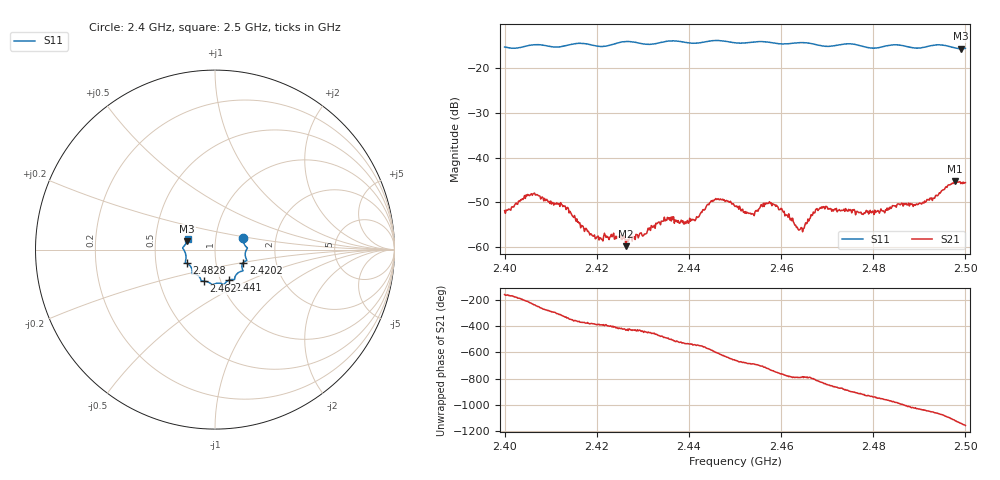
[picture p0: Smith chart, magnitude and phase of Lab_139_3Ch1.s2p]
# Hz S RI R 50
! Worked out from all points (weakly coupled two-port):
!   601 points, 2.4 GHz to 2.5 GHz, reference 50 ohm
!   highest |S21| = -45.34 dB at 2.4977 GHz (marker M1); lowest = -59.7 dB at 2.4263 GHz (marker M2)
!   lowest |S11| = -15.8 dB at 2.499 GHz (marker M3), VSWR 1.39, Z = 36.4 + j3.54 ohm
!   |S11| at or under -10 dB: start of sweep to end of sweep
!   S12 and S22 are empty: the file has one direction only
!   S11 on the Smith chart (normalised r, x): 2.4 GHz: 1.36, +0.17; 2.4202 GHz: 1.36, -0.20; 2.441 GHz: 1.10, -0.39; 2.462 GHz: 0.83, -0.30; 2.4828 GHz: 0.72, -0.11; 2.5 GHz: 0.73, +0.09
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2.4e9  0.1583 0.0619  -0.00234 -0.00104  0 0  0 0
2.406667e9  0.1802 0.00982  -0.00202 0.00325  0 0  0 0
2.412667e9  0.169 -0.0364  0.00219 0.0018  0 0  0 0
2.416667e9  0.1769 -0.0605  0.00173 -0.000313  0 0  0 0
2.420167e9  0.158 -0.0719  0.00121 -0.000533  0 0  0 0
2.426333e9  0.156 -0.1181  0.000345 -0.00097  0 0  0 0
2.433333e9  0.1118 -0.151  -0.000644 -0.00178  0 0  0 0
2.441e9  0.0781 -0.1702  -0.00202 6.62e-05  0 0  0 0
2.445333e9  0.0514 -0.1937  -0.00216 0.00247  0 0  0 0
2.45e9  0.0278 -0.1875  0.00146 0.00245  0 0  0 0
2.453667e9  -0.00537 -0.1925  0.002 0.00128  0 0  0 0
2.457833e9  -0.0246 -0.189  0.00301 -0.000904  0 0  0 0
2.462e9  -0.0609 -0.1756  0.000847 -0.00183  0 0  0 0
2.464333e9  -0.0746 -0.1752  0.000524 -0.00157  0 0  0 0
2.466667e9  -0.0787 -0.1677  0.000404 -0.00222  0 0  0 0
2.469333e9  -0.0902 -0.1484  -0.0014 -0.00245  0 0  0 0
2.482833e9  -0.1573 -0.0768  -0.0012 0.00228  0 0  0 0
2.483333e9  -0.1602 -0.0754  -0.00106 0.00251  0 0  0 0
2.490833e9  -0.1676 -0.0131  0.0024 0.00208  0 0  0 0
2.497667e9  -0.1633 0.0309  0.00416 -0.00345  0 0  0 0
2.499e9  -0.1556 0.0473  0.00236 -0.00455  0 0  0 0
2.5e9  -0.1526 0.0613  0.000927 -0.00518  0 0  0 0
